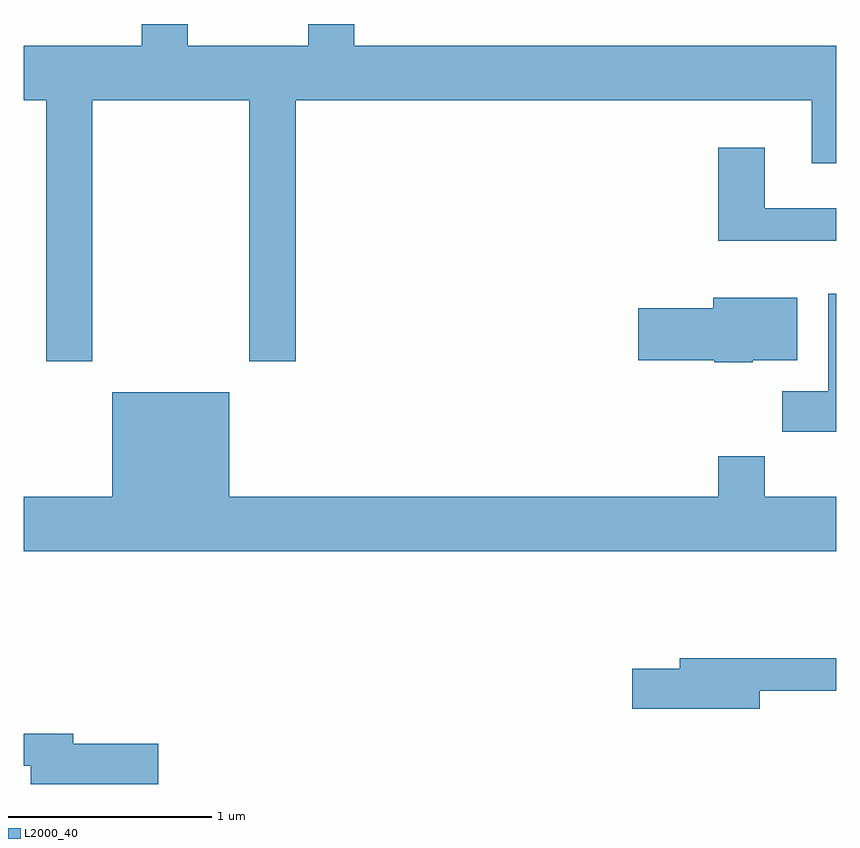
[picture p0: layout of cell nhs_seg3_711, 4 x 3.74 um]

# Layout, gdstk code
import gdstk
lib = gdstk.Library(unit=1e-6, precision=1e-09)
def P(c, l, *ps):  # polygons
    for p in ps: c.add(gdstk.Polygon(p, *l))
L2000_40 = (2000, 40)

nhs_seg3_711 = lib.new_cell('nhs_seg3_711')
P(nhs_seg3_711, L2000_40, [(205.949,1181.516),(206.721,1181.516),(206.721,1180.231),(206.949,1180.231),(206.949,1181.516),(209.491,1181.516),(209.491,1181.206),(209.611,1181.206),(209.611,1181.784),(207.239,1181.784),(207.239,1181.892),(207.011,1181.892),(207.011,1181.784),(206.419,1181.784),(206.419,1181.892),(206.191,1181.892),(206.191,1181.784),(205.611,1181.784),(205.611,1181.516),(205.721,1181.516),(205.721,1180.231),(205.949,1180.231)],
  [(209.611,1180.984),(209.259,1180.984),(209.259,1181.284),(209.031,1181.284),(209.031,1180.826),(209.611,1180.826)],
  [(209.611,1180.564),(209.571,1180.564),(209.571,1180.084),(209.346,1180.084),(209.346,1179.886),(209.611,1179.886)],
  [(209.2,1180.236),(209.419,1180.236),(209.419,1180.544),(209.006,1180.544),(209.006,1180.494),(208.636,1180.494),(208.636,1180.236),(209.01,1180.236),(209.01,1180.226),(209.2,1180.226)],
  [(209.611,1179.564),(209.259,1179.564),(209.259,1179.764),(209.031,1179.764),(209.031,1179.564),(206.624,1179.564),(206.624,1180.079),(206.046,1180.079),(206.046,1179.564),(205.611,1179.564),(205.611,1179.296),(209.611,1179.296)],
  [(209.234,1178.611),(209.611,1178.611),(209.611,1178.769),(208.841,1178.769),(208.841,1178.719),(208.606,1178.719),(208.606,1178.521),(209.234,1178.521)],
  [(206.274,1178.349),(205.854,1178.349),(205.854,1178.399),(205.611,1178.399),(205.611,1178.241),(205.646,1178.241),(205.646,1178.151),(206.274,1178.151)])

lib.write_gds('nhs_seg3_711.gds')
